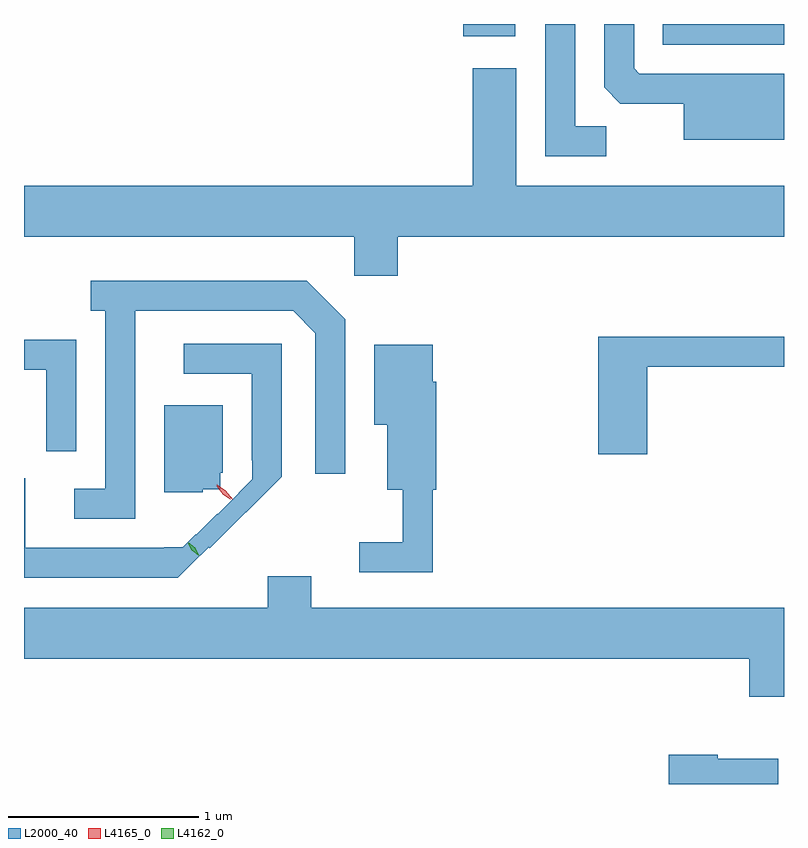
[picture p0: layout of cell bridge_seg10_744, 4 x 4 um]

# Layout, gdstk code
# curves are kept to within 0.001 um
import gdstk
lib = gdstk.Library(unit=1e-6, precision=1e-09)
def R(c, l, rs):  # rectangles x0, y0, x1, y1
    for r in rs: c.add(gdstk.rectangle(r[:2], r[2:], *l))
def P(c, l, *ps):  # polygons
    for p in ps: c.add(gdstk.Polygon(p, *l))
L2000_40 = (2000, 40)
L4162_0 = (4162, 0)
L4165_0 = (4165, 0)

bridge_seg10_744 = lib.new_cell('bridge_seg10_744')
R(bridge_seg10_744, L2000_40, [(620.386,2150.446,621.023,2150.556), (619.336,2150.491,619.609,2150.556)])
P(bridge_seg10_744, L2000_40, [(621.023,2150.294),(620.262,2150.294),(620.234,2150.322),(620.234,2150.556),(620.076,2150.556),(620.076,2150.222),(620.162,2150.136),(620.496,2150.136),(620.496,2149.946),(621.023,2149.946)],
  [(620.088,2150.019),(619.924,2150.019),(619.924,2150.556),(619.766,2150.556),(619.766,2149.861),(620.088,2149.861)],
  [(618.989,2149.436),(621.023,2149.436),(621.023,2149.704),(619.614,2149.704),(619.614,2150.324),(619.386,2150.324),(619.386,2149.704),(617.023,2149.704),(617.023,2149.436),(618.761,2149.436),(618.761,2149.231),(618.989,2149.231)],
  [(617.609,2149.046),(618.439,2149.046),(618.556,2148.929),(618.556,2148.188),(618.714,2148.188),(618.714,2149.002),(618.512,2149.204),(617.373,2149.204),(617.373,2149.046),(617.451,2149.046),(617.451,2148.109),(617.288,2148.109),(617.288,2147.951),(617.609,2147.951)],
  [(620.304,2148.751),(621.023,2148.751),(621.023,2148.909),(620.046,2148.909),(620.046,2148.291),(620.304,2148.291)],
  [(617.299,2148.894),(617.023,2148.894),(617.023,2148.736),(617.141,2148.736),(617.141,2148.308),(617.299,2148.308)],
  [(617.905,2147.714),(617.995,2147.803),(618.001,2147.796),(618.379,2148.174),(618.379,2148.874),(617.863,2148.874),(617.863,2148.716),(618.221,2148.716),(618.221,2148.259),(618.224,2148.259),(618.224,2148.161),(618.153,2148.09),(618.155,2148.088),(618.043,2147.976),(618.041,2147.978),(617.93,2147.867),(617.928,2147.87),(617.859,2147.801),(617.761,2147.801),(617.761,2147.799),(617.029,2147.799),(617.029,2148.164),(617.023,2148.164),(617.023,2147.641),(617.832,2147.641)],
  [(619.174,2148.106),(619.194,2148.106),(619.194,2148.674),(619.174,2148.674),(619.174,2148.869),(618.866,2148.869),(618.866,2148.446),(618.936,2148.446),(618.936,2148.106),(619.016,2148.106),(619.016,2147.829),(618.788,2147.829),(618.788,2147.671),(619.174,2147.671)],
  [(617.965,2148.108),(618.055,2148.108),(618.055,2148.195),(618.069,2148.195),(618.069,2148.549),(617.761,2148.549),(617.761,2148.091),(617.965,2148.091)],
  [(621.023,2147.484),(618.534,2147.484),(618.534,2147.649),(618.306,2147.649),(618.306,2147.484),(617.023,2147.484),(617.023,2147.216),(620.841,2147.216),(620.841,2147.016),(621.023,2147.016)],
  [(620.994,2146.689),(620.674,2146.689),(620.674,2146.709),(620.416,2146.709),(620.416,2146.556),(620.994,2146.556)])
P(bridge_seg10_744, L4162_0, [(617.945,2147.757),(617.909,2147.787),(617.887,2147.829),(617.887,2147.829),(617.888,2147.829),(617.924,2147.8),(617.946,2147.758),(617.946,2147.757)],
  [(617.94,2147.761),(617.906,2147.785),(617.887,2147.821),(617.887,2147.822),(617.888,2147.822),(617.922,2147.798),(617.94,2147.762),(617.94,2147.761)])
P(bridge_seg10_744, L4165_0, [(618.12,2148.054),(618.073,2148.085),(618.038,2148.13),(618.038,2148.131),(618.039,2148.131),(618.086,2148.1),(618.121,2148.055),(618.121,2148.054)],
  [(618.111,2148.051),(618.068,2148.081),(618.038,2148.124),(618.038,2148.125),(618.038,2148.125),(618.082,2148.095),(618.112,2148.052),(618.112,2148.051)])

lib.write_gds('bridge_seg10_744.gds')
